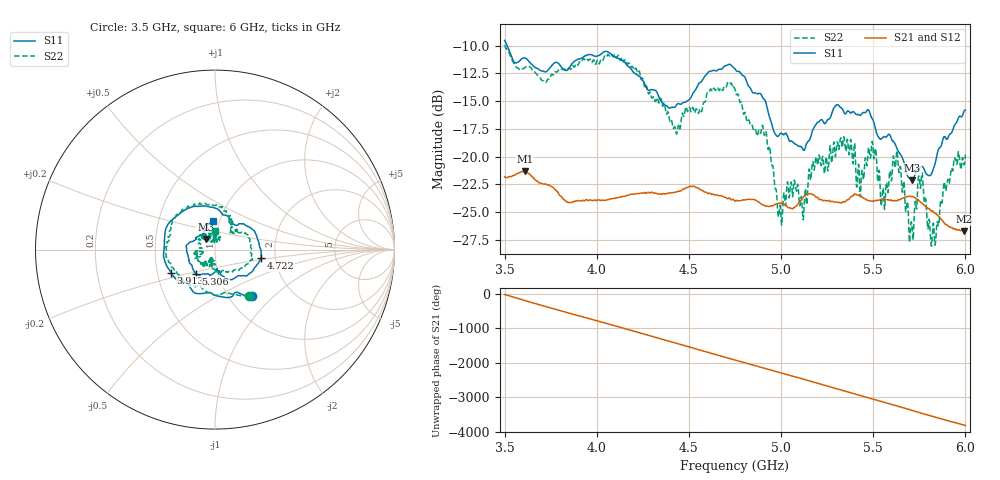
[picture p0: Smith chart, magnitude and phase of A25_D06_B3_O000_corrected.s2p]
! Created with skrf 1.9.0 (http://scikit-rf.org).
# Hz S RI R 50.0
!freq ReS11 ImS11 ReS21 ImS21 ReS12 ImS12 ReS22 ImS22
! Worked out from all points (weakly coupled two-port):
!   1601 points, 3.5 GHz to 6 GHz, reference 50 ohm
!   highest |S21| = -21.31 dB at 3.609 GHz (marker M1); lowest = -26.7 dB at 5.994 GHz (marker M2)
!   lowest |S11| = -22.1 dB at 5.713 GHz (marker M3), VSWR 1.17, Z = 44.8 + j5.34 ohm
!   |S11| at or under -10 dB: 3.514 GHz to end of sweep
!   |S22| runs from -28.1 to -9.9 dB; largest |S21 - S12| = 0.001
!   S11 on the Smith chart (normalised r, x): 3.5 GHz: 1.28, -0.75; 3.913 GHz: 0.59, -0.16; 4.722 GHz: 1.68, -0.17; 5.306 GHz: 0.78, -0.22; 6 GHz: 0.93, +0.31
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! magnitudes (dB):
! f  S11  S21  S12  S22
! 3.5 GHz  -9.5  -21.8  -21.8  -9.9
! 3.609 GHz  -11.1  -21.3  -21.3  -12.0
! 3.913 GHz  -11.2  -24.0  -23.9  -11.4
! 3.917 GHz  -11.1  -24.0  -24.0  -11.5
! 4.108 GHz  -11.1  -23.7  -23.6  -11.1
! 4.334 GHz  -14.5  -23.4  -23.3  -15.1
! 4.441 GHz  -15.2  -23.1  -23.1  -17.3
! 4.722 GHz  -11.7  -23.8  -23.7  -13.4
! 4.75 GHz  -12.1  -24.0  -23.9  -13.9
! 4.909 GHz  -14.8  -24.4  -24.3  -18.1
! 4.994 GHz  -17.9  -24.2  -24.1  -24.4
! 5.064 GHz  -18.7  -24.7  -24.6  -23.5
! 5.128 GHz  -19.3  -23.5  -23.5  -23.5
! 5.167 GHz  -17.8  -23.4  -23.3  -20.9
! 5.306 GHz  -15.3  -24.1  -24.0  -18.7
! 5.584 GHz  -18.0  -23.9  -23.8  -22.4
! 5.636 GHz  -19.5  -23.9  -23.8  -21.0
! 5.713 GHz  -22.1  -23.6  -23.5  -26.8
! 5.756 GHz  -20.9  -24.1  -24.0  -22.8
! 5.827 GHz  -21.1  -25.0  -24.9  -26.0
! 5.994 GHz  -15.9  -26.7  -26.6  -20.7
! 6 GHz  -15.8  -26.7  -26.6  -19.8
